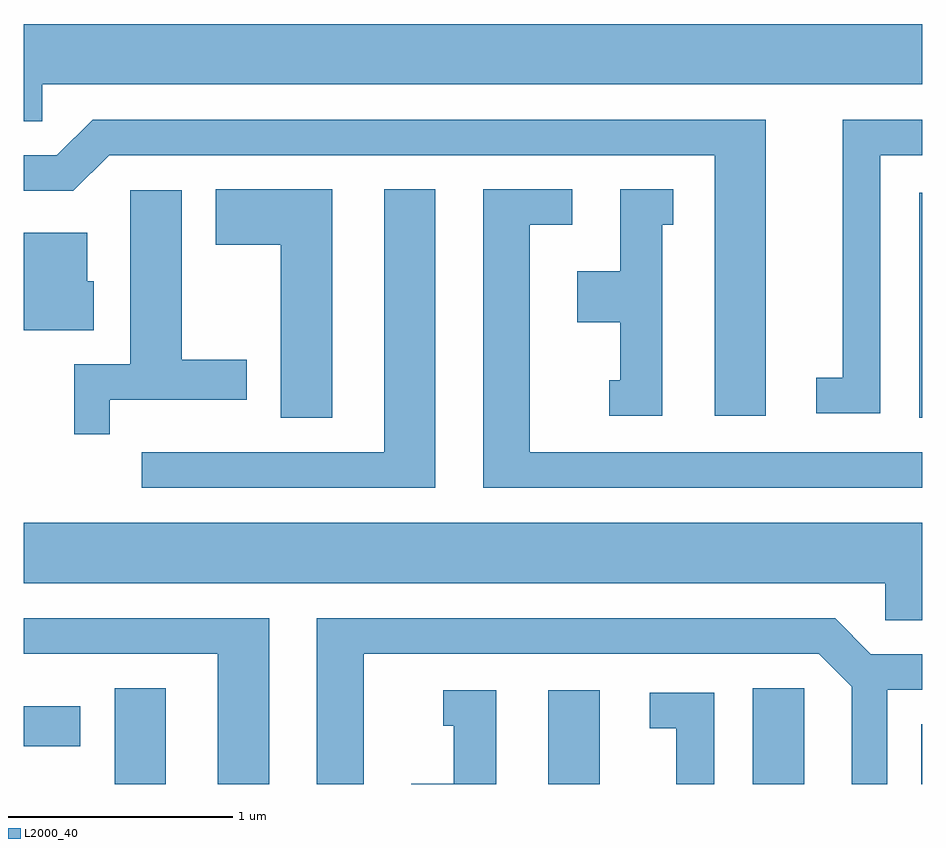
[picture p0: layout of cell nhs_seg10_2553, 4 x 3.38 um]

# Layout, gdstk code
import gdstk
lib = gdstk.Library(unit=1e-6, precision=1e-09)
def R(c, l, rs):  # rectangles x0, y0, x1, y1
    for r in rs: c.add(gdstk.rectangle(r[:2], r[2:], *l))
def P(c, l, *ps):  # polygons
    for p in ps: c.add(gdstk.Polygon(p, *l))
L2000_40 = (2000, 40)

nhs_seg10_2553 = lib.new_cell('nhs_seg10_2553')
R(nhs_seg10_2553, L2000_40, [(260.016,2168.522,260.244,2168.949), (261.946,2168.522,262.174,2168.939), (262.856,2168.522,263.084,2168.949), (263.606,2168.522,263.611,2168.789), (259.611,2168.691,259.864,2168.869), (263.596,2170.151,263.611,2171.154)])
P(nhs_seg10_2553, L2000_40, [(259.694,2171.636),(263.611,2171.636),(263.611,2171.904),(259.611,2171.904),(259.611,2171.471),(259.694,2171.471)],
  [(262.914,2171.479),(259.919,2171.479),(259.759,2171.319),(259.611,2171.319),(259.611,2171.161),(259.832,2171.161),(259.992,2171.321),(262.686,2171.321),(262.686,2170.161),(262.914,2170.161)],
  [(263.424,2171.321),(263.611,2171.321),(263.611,2171.479),(263.256,2171.479),(263.256,2170.329),(263.138,2170.329),(263.138,2170.171),(263.424,2170.171)],
  [(262.454,2171.011),(262.503,2171.011),(262.503,2171.169),(262.266,2171.169),(262.266,2170.804),(262.076,2170.804),(262.076,2170.576),(262.266,2170.576),(262.266,2170.319),(262.218,2170.319),(262.218,2170.161),(262.454,2170.161)],
  [(263.611,2169.999),(261.864,2169.999),(261.864,2171.011),(262.053,2171.011),(262.053,2171.169),(261.656,2171.169),(261.656,2169.841),(263.611,2169.841)],
  [(261.444,2171.169),(261.216,2171.169),(261.216,2169.999),(260.138,2169.999),(260.138,2169.841),(261.444,2169.841)],
  [(260.984,2171.169),(260.466,2171.169),(260.466,2170.921),(260.756,2170.921),(260.756,2170.151),(260.984,2170.151)],
  [(259.994,2170.231),(260.604,2170.231),(260.604,2170.409),(260.314,2170.409),(260.314,2171.164),(260.086,2171.164),(260.086,2170.389),(259.836,2170.389),(259.836,2170.078),(259.994,2170.078)],
  [(259.924,2170.759),(259.894,2170.759),(259.894,2170.974),(259.611,2170.974),(259.611,2170.541),(259.924,2170.541)],
  [(263.611,2169.684),(259.611,2169.684),(259.611,2169.416),(263.446,2169.416),(263.446,2169.251),(263.611,2169.251)],
  [(261.124,2169.101),(263.149,2169.101),(263.296,2168.954),(263.296,2168.522),(263.454,2168.522),(263.454,2168.941),(263.611,2168.941),(263.611,2169.099),(263.382,2169.099),(263.222,2169.259),(260.916,2169.259),(260.916,2168.522),(261.124,2168.522)],
  [(260.704,2169.259),(259.611,2169.259),(259.611,2169.101),(260.476,2169.101),(260.476,2168.522),(260.704,2168.522)],
  [(261.714,2168.939),(261.478,2168.939),(261.478,2168.781),(261.526,2168.781),(261.526,2168.524),(261.336,2168.524),(261.336,2168.522),(261.714,2168.522)],
  [(262.684,2168.929),(262.398,2168.929),(262.398,2168.771),(262.516,2168.771),(262.516,2168.522),(262.684,2168.522)])

lib.write_gds('nhs_seg10_2553.gds')
